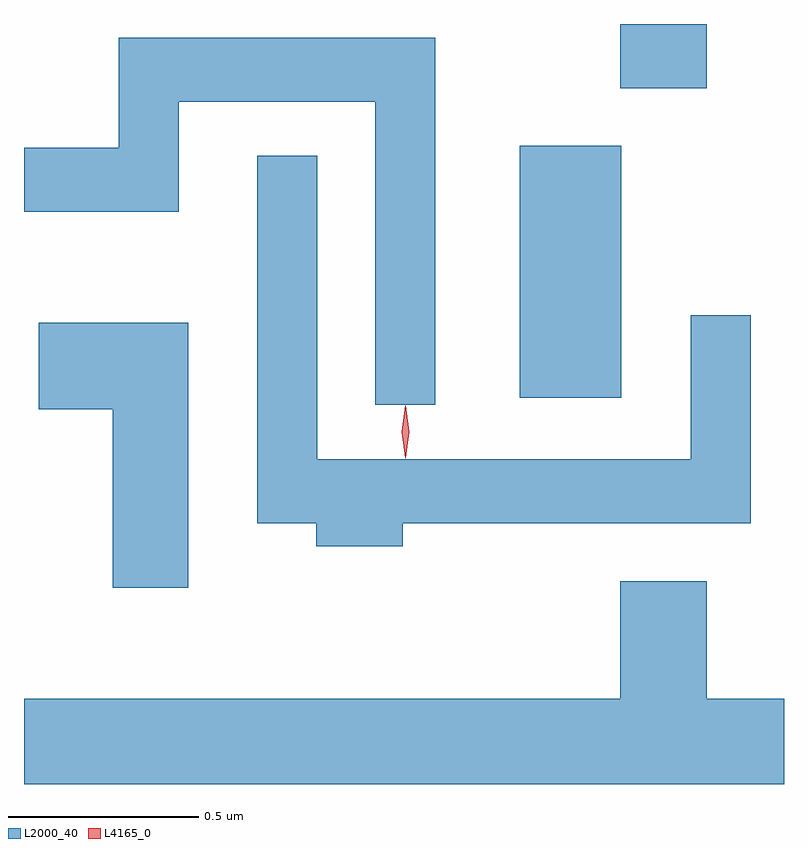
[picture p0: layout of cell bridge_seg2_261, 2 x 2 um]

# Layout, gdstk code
import gdstk
lib = gdstk.Library(unit=1e-6, precision=1e-09)
def R(c, l, rs):  # rectangles x0, y0, x1, y1
    for r in rs: c.add(gdstk.rectangle(r[:2], r[2:], *l))
def P(c, l, *ps):  # polygons
    for p in ps: c.add(gdstk.Polygon(p, *l))
L2000_40 = (2000, 40)
L4165_0 = (4165, 0)

bridge_seg2_261 = lib.new_cell('bridge_seg2_261')
R(bridge_seg2_261, L2000_40, [(490.536,1078.236,490.804,1078.899), (490.801,1079.051,491.029,1079.22)])
P(bridge_seg2_261, L2000_40, [(490.314,1079.184),(489.481,1079.184),(489.481,1078.894),(489.232,1078.894),(489.232,1078.726),(489.639,1078.726),(489.639,1079.016),(490.156,1079.016),(490.156,1078.218),(490.314,1078.218)],
  [(490.229,1077.906),(491.144,1077.906),(491.144,1078.453),(490.986,1078.453),(490.986,1078.074),(490.004,1078.074),(490.004,1078.873),(489.846,1078.873),(489.846,1077.906),(490.001,1077.906),(490.001,1077.846),(490.229,1077.846)],
  [(489.664,1078.434),(489.271,1078.434),(489.271,1078.206),(489.466,1078.206),(489.466,1077.736),(489.664,1077.736)],
  [(491.232,1077.444),(491.029,1077.444),(491.029,1077.754),(490.801,1077.754),(490.801,1077.444),(489.232,1077.444),(489.232,1077.22),(491.232,1077.22)])
P(bridge_seg2_261, L4165_0, [(490.235,1078.08),(490.226,1078.146),(490.235,1078.212),(490.236,1078.213),(490.236,1078.212),(490.246,1078.146),(490.236,1078.08),(490.236,1078.08)],
  [(490.236,1078.077),(490.235,1078.078),(490.226,1078.147),(490.235,1078.216),(490.236,1078.216),(490.236,1078.216),(490.246,1078.147),(490.236,1078.078)])

lib.write_gds('bridge_seg2_261.gds')
